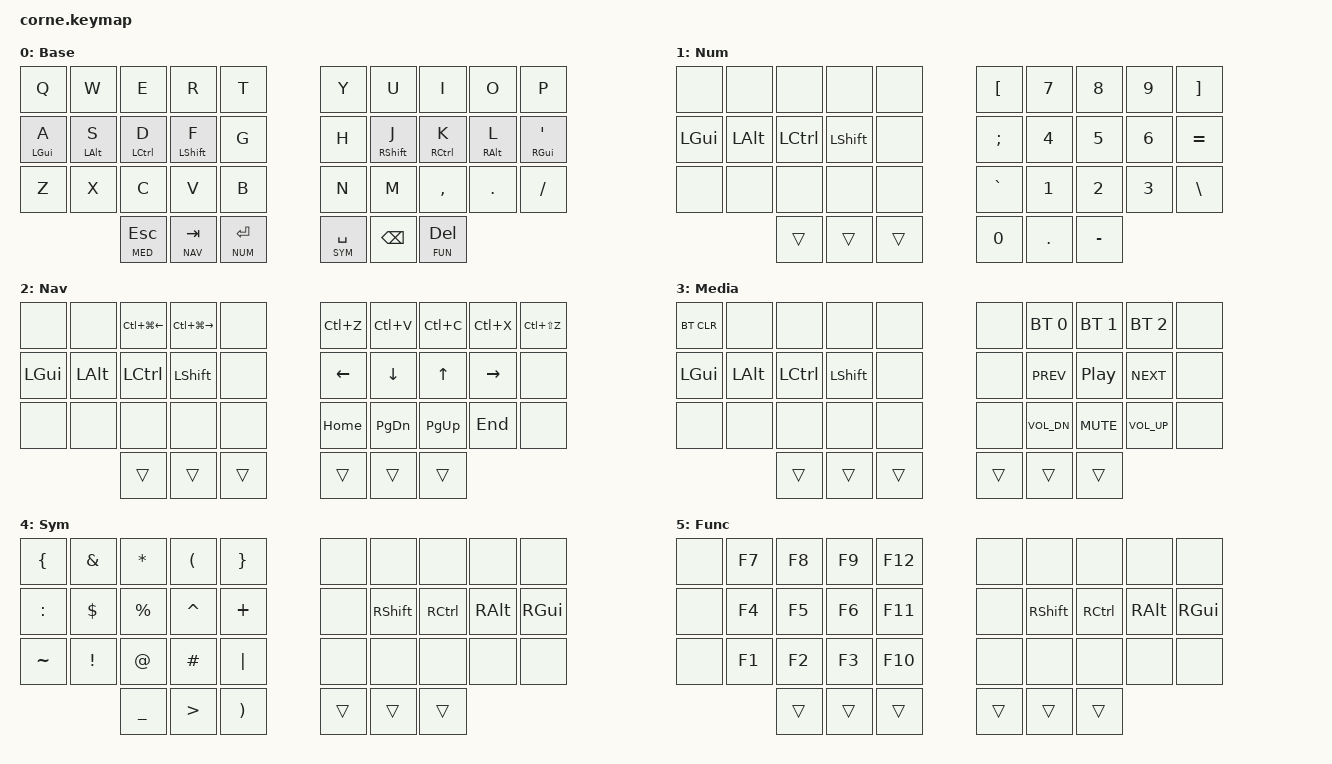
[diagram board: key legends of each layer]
/*
 * Copyright (c) 2020 The ZMK Contributors
 * SPDX-License-Identifier: MIT
 */

#include <behaviors.dtsi>
#include <dt-bindings/zmk/keys.h>
#include <dt-bindings/zmk/bt.h>
#include "includes/combos.dtsi"
#include "includes/behaviors.dtsi"

#define BASE 0
#define NUM 1
#define NAV 2
#define MED 3
#define SYM 4
#define FUN 5
#define CMK 6

/ {

  keymap {
    compatible = "zmk,keymap";

    base {
      label = "Base";
      // +---+---+---+---+---+     +---+---+---+---+---+
      // | Q | W | E | R | T |     | Y | U | I | O | P |
      // +---+---+---+---+---+     +---+---+---+---+---+
      // | A | S | D | F | G |     | H | J | K | L | ' |
      //  gui alt ctr shf               shf ctr alt gui
      // +---+---+---+---+---+     +---+---+---+---+---+
      // | Z | X | C | V | B |     | N | M | , | . | / |
      // +---+---+---+---+---+     +---+---+---+---+---+
      //         |ESC|TAB|ENT|     |SPC|BKS|DEL|
      //          med nav num       sym     fun
      bindings = <
        &kp Q       &kp W      &kp E       &kp R        &kp T            &kp Y         &kp U        &kp I       &kp O      &kp P
        &hm LGUI A &hm LALT S &hm LCTRL D  &hm LSHIFT F &kp G            &kp H         &hm RSHIFT J &hm RCTRL K  &hm RALT L &hm RGUI SQT
        &kp Z       &kp X      &kp C       &kp V        &kp B            &kp N         &kp M        &kp COMMA   &kp DOT    &kp FSLH
                               &lt MED ESC &lt NAV TAB  &lt NUM RET      &lt SYM SPACE &kp BSPC     &lt FUN DEL
      >;
    };

    num {
      label = "Num";
      // +---+---+---+---+---+     +---+---+---+---+---+
      // |   |   |   |   |   |     | [ | 7 | 8 | 9 | ] |
      // +---+---+---+---+---+     +---+---+---+---+---+
      // |GUI|ALT|CTR|SHF|   |     | ; | 4 | 5 | 6 | = |
      // +---+---+---+---+---+     +---+---+---+---+---+
      // |   |   |   |   |   |     | ` | 1 | 2 | 3 | \ |
      // +---+---+---+---+---+     +---+---+---+---+---+
      //         |   |   |   |     | 0 | . | - |
      //         +---+---+---+     +---+---+---+
      bindings = <
        &none     &none    &none    &none     &none      &kp LBKT  &kp N7  &kp N8 &kp N9 &kp RBKT 
        &kp LGUI &kp LALT &kp LCTRL &kp LSHFT &none      &kp SEMI  &kp N4  &kp N5 &kp N6 &kp EQUAL
        &none     &none    &none    &none     &none      &kp GRAVE &kp N1  &kp N2 &kp N3 &kp BSLH 
                           &trans   &trans    &trans     &kp N0    &kp DOT &kp MINUS
      >;
    };

    nav {
      label = "Nav";
      // +---+---+---+---+---+     +---+---+---+---+---+
      // |   |   |GLF|GRT|   |     |UND|PST|CPY|CUT|RDO|
      // +---+---+---+---+---+     +---+---+---+---+---+
      // |GUI|ALT|CTR|SHF|   |     |LFT|DWN|UP |RGT|   |
      // +---+---+---+---+---+     +---+---+---+---+---+
      // |   |   |   |   |   |     |HME|PGD|PGU|END|   |
      // +---+---+---+---+---+     +---+---+---+---+---+
      //         |   |   |   |     |   |   |   |
      //         +---+---+---+     +---+---+---+
      bindings = <
        &none     &none    &kp LC(LG(LEFT)) &kp LC(LG(RIGHT)) &none       &kp LC(Z) &kp LC(V) &kp LC(C) &kp LC(X) &kp LC(LS(Z))
        &kp LGUI  &kp LALT &kp LCTRL           &kp LSHFT      &none       &kp LEFT  &kp DOWN  &kp UP    &kp RIGHT &none
        &none     &none    &none               &none          &none       &kp HOME  &kp PG_DN &kp PG_UP &kp END   &none
                           &trans              &trans         &trans      &trans    &trans    &trans
      >;
    };

    med {
      label = "Media";
      // +---+---+---+---+---+     +---+---+---+---+---+
      // |BCL|   |   |   |   |     |   |BT0|BT1|BT2|   |
      // +---+---+---+---+---+     +---+---+---+---+---+
      // |GUI|ALT|CTR|SHF|   |     |   |PRV|PLY|NXT|   |
      // +---+---+---+---+---+     +---+---+---+---+---+
      // |   |   |   |   |   |     |   |VO-|VMT|VO+|   |
      // +---+---+---+---+---+     +---+---+---+---+---+
      //         |   |   |   |     |   |   |   |
      //         +---+---+---+     +---+---+---+
      bindings = <
        &bt BT_CLR &none    &none    &none     &none       &none  &bt BT_SEL 0 &bt BT_SEL 1 &bt BT_SEL 2 &none
        &kp LGUI  &kp LALT &kp LCTRL &kp LSHFT &none       &none  &kp C_PREV   &kp C_PP     &kp C_NEXT   &none
        &none      &none    &none    &none     &none       &none  &kp C_VOL_DN &kp C_MUTE   &kp C_VOL_UP &none
                            &trans   &trans    &trans      &trans &trans       &trans
      >;
    };

    sym {
      label = "Sym";
      // +---+---+---+---+---+     +---+---+---+---+---+
      // | { | & | * | ( | } |     |   |   |   |   |   |
      // +---+---+---+---+---+     +---+---+---+---+---+
      // | : | $ | % | ^ | + |     |   |SHF|CTR|ALT|GUI|
      // +---+---+---+---+---+     +---+---+---+---+---+
      // | ~ | ! | @ | # | | |     |   |   |   |   |   |
      // +---+---+---+---+---+     +---+---+---+---+---+
      //         | _ | > | ) |     |   |   |   |
      //         +---+---+---+     +---+---+---+
      bindings = <
        &kp LBRC  &kp AMPS   &kp ASTRK   &kp LPAR  &kp RBRC      &none    &none     &none    &none    &none
        &kp COLON &kp DOLLAR &kp PERCENT &kp CARET &kp PLUS      &none    &kp RSHFT &kp RCTRL &kp RALT &kp RGUI
        &kp TILDE &kp EXCL   &kp AT      &kp HASH  &kp PIPE      &none    &none     &none    &none    &none
                             &kp UNDER   &kp GT    &kp RPAR      &trans   &trans    &trans 
      >;
    };

    fun {
      label = "Func";
      // +---+---+---+---+---+     +---+---+---+---+---+
      // |   |F7 |F8 |F9 |F12|     |   |   |   |   |   |
      // +---+---+---+---+---+     +---+---+---+---+---+
      // |   |F4 |F5 |F6 |F11|     |   |SHF|CTR|ALT|GUI|
      // +---+---+---+---+---+     +---+---+---+---+---+
      // |   |F1 |F2 |F3 |F10|     |   |   |   |   |   |
      // +---+---+---+---+---+     +---+---+---+---+---+
      //         |   |   |   |     |   |   |   |
      //         +---+---+---+     +---+---+---+
      bindings = <
        &none &kp F7 &kp F8 &kp F9 &kp F12      &none  &none     &none    &none    &none
        &none &kp F4 &kp F5 &kp F6 &kp F11      &none  &kp RSHFT &kp RCTRL &kp RALT &kp RGUI
        &none &kp F1 &kp F2 &kp F3 &kp F10      &none  &none     &none    &none    &none
                     &trans &trans &trans       &trans &trans    &trans
      >;
    };

  };
};
